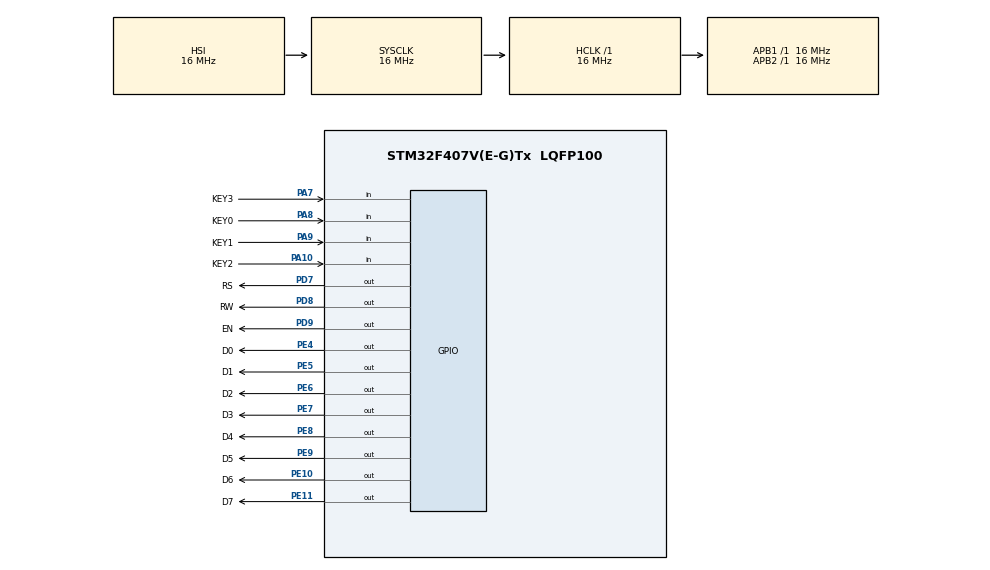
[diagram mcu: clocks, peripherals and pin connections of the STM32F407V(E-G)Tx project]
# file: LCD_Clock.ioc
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Mcu.Family=STM32F4
Mcu.Name=STM32F407V(E-G)Tx
Mcu.Package=LQFP100
NVIC.PriorityGroup=NVIC_PRIORITYGROUP_4
NVIC.TIM1_TRG_COM_TIM11_IRQn=true\:2\:0\:true\:false\:true\:true
NVIC.TIM1_UP_TIM10_IRQn=true\:0\:0\:false\:false\:true\:true
PA10.GPIO_Label=KEY2
PA10.GPIO_PuPd=GPIO_PULLDOWN
PA10.Signal=GPIO_Input
PA7.GPIO_Label=KEY3
PA7.GPIO_PuPd=GPIO_PULLDOWN
PA7.Signal=GPIO_Input
PA8.GPIO_Label=KEY0
PA8.GPIO_PuPd=GPIO_PULLDOWN
PA8.Signal=GPIO_Input
PA9.GPIO_Label=KEY1
PA9.GPIO_PuPd=GPIO_PULLDOWN
PA9.Signal=GPIO_Input
PD7.GPIO_Label=RS
PD7.Signal=GPIO_Output
PD8.GPIO_Label=RW
PD8.Signal=GPIO_Output
PD9.GPIO_Label=EN
PD9.Signal=GPIO_Output
PE10.GPIO_Label=D6
PE10.Signal=GPIO_Output
PE11.GPIO_Label=D7
PE11.Signal=GPIO_Output
PE4.GPIO_Label=D0
PE4.Signal=GPIO_Output
PE5.GPIO_Label=D1
PE5.Signal=GPIO_Output
PE6.GPIO_Label=D2
PE6.Signal=GPIO_Output
PE7.GPIO_Label=D3
PE7.Signal=GPIO_Output
PE8.GPIO_Label=D4
PE8.Signal=GPIO_Output
PE9.GPIO_Label=D5
PE9.Signal=GPIO_Output
PH0-OSC_IN.Mode=HSE-External-Oscillator
PH0-OSC_IN.Signal=RCC_OSC_IN
PH1-OSC_OUT.Mode=HSE-External-Oscillator
PH1-OSC_OUT.Signal=RCC_OSC_OUT
ProjectManager.HeapSize=0x200
ProjectManager.StackSize=0x400
ProjectManager.TargetToolchain=SW4STM32
RCC.48MHZClocksFreq_Value=24000000
RCC.AHBFreq_Value=16000000
RCC.APB1Freq_Value=16000000
RCC.APB1TimFreq_Value=16000000
RCC.APB2Freq_Value=16000000
RCC.APB2TimFreq_Value=16000000
RCC.CortexFreq_Value=16000000
RCC.HCLKFreq_Value=16000000
RCC.HSE_VALUE=8000000
RCC.HSI_VALUE=16000000
RCC.LSE_VALUE=32768
RCC.PLLSourceVirtual=RCC_PLLSOURCE_HSE
RCC.SYSCLKFreq_VALUE=16000000
RCC.VCOOutputFreq_Value=96000000
TIM10.Period=999
TIM10.Prescaler=255
TIM11.Period=62499
TIM11.Prescaler=255
VP_TIM10_VS_ClockSourceINT.Mode=Enable_Timer
VP_TIM11_VS_ClockSourceINT.Mode=Enable_Timer
board=LCD_ostatnua_proba

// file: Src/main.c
/**
  ******************************************************************************
  * @file           : main.c
  * @brief          : Main program body
  ******************************************************************************
  ** This notice applies to any and all portions of this file
  * that are not between comment pairs USER CODE BEGIN and
  * USER CODE END. Other portions of this file, whether
  * inserted by the user or by software development tools
  * are owned by their respective copyright owners.
  *
  * COPYRIGHT(c) 2018 STMicroelectronics
  *
  * Redistribution and use in source and binary forms, with or without modification,
  * are permitted provided that the following conditions are met:
  *   1. Redistributions of source code must retain the above copyright notice,
  *      this list of conditions and the following disclaimer.
  *   2. Redistributions in binary form must reproduce the above copyright notice,
  *      this list of conditions and the following disclaimer in the documentation
  *      and/or other materials provided with the distribution.
  *   3. Neither the name of STMicroelectronics nor the names of its contributors
  *      may be used to endorse or promote products derived from this software
  *      without specific prior written permission.
  *
  * THIS SOFTWARE IS PROVIDED BY THE COPYRIGHT HOLDERS AND CONTRIBUTORS "AS IS"
  * AND ANY EXPRESS OR IMPLIED WARRANTIES, INCLUDING, BUT NOT LIMITED TO, THE
  * IMPLIED WARRANTIES OF MERCHANTABILITY AND FITNESS FOR A PARTICULAR PURPOSE ARE
  * DISCLAIMED. IN NO EVENT SHALL THE COPYRIGHT HOLDER OR CONTRIBUTORS BE LIABLE
  * FOR ANY DIRECT, INDIRECT, INCIDENTAL, SPECIAL, EXEMPLARY, OR CONSEQUENTIAL
  * DAMAGES (INCLUDING, BUT NOT LIMITED TO, PROCUREMENT OF SUBSTITUTE GOODS OR
  * SERVICES; LOSS OF USE, DATA, OR PROFITS; OR BUSINESS INTERRUPTION) HOWEVER
  * CAUSED AND ON ANY THEORY OF LIABILITY, WHETHER IN CONTRACT, STRICT LIABILITY,
  * OR TORT (INCLUDING NEGLIGENCE OR OTHERWISE) ARISING IN ANY WAY OUT OF THE USE
  * OF THIS SOFTWARE, EVEN IF ADVISED OF THE POSSIBILITY OF SUCH DAMAGE.
  *
  ******************************************************************************
  */
#include "main.h"
#include "stm32f4xx_hal.h"

/* USER CODE BEGIN Includes */
#include "LCD.h"
void czas_print_xy_migajacy (unsigned char x, unsigned char y, signed char enter, unsigned char miganie, signed char cyfry[6]);
void window_1(signed char enter, unsigned char miganie, signed char cyfry[6]);
void window_2(signed char enter, unsigned char miganie, signed char cyfry[6]);

/* USER CODE END Includes */

TIM_HandleTypeDef htim10;
TIM_HandleTypeDef htim11;

/* USER CODE BEGIN PV */
/* Private variables ---------------------------------------------------------*/

volatile unsigned char kl_ENTER = 0;	//przycisk ENTER (KEY0)
volatile unsigned char kl_UP = 0;		//przycisk UP (KEY1)
volatile unsigned char kl_DOWN = 0;		//przycisk DOWN (KEY2)
volatile unsigned char kl_CANCEL = 0;	//przycisk CANCELv(KEY3)
volatile int licznik = 0; 	//zmienna regulujaca czestotliwosc zapalania i wylaczania sie modyfikowanej cyfry

union {		//do obs³ugi przycisków -> w przerwaniu
 struct {
  unsigned char ENTER:1;	//LSB
  unsigned char UP:1;
  unsigned char DOWN:1;
  unsigned char CANCEL:1;
  unsigned char ENTER_PREV:1;
  unsigned char UP_PREV:1;
  unsigned char DOWN_PREV:1;
  unsigned char CANCEL_PREV:1; //MSB
 } flags;
  char byte;
} key;

union {		//do obs³ugi przycisków -> w przerwaniu
 struct {
  unsigned char ENTER:1;	   //LSB
  unsigned char UP:1;
  unsigned char DOWN:1;
  unsigned char CANCEL:1;
  unsigned char ENTER_PREV:1;
  unsigned char UP_PREV:1;
  unsigned char DOWN_PREV:1;
  unsigned char CANCEL_PREV:1;
  unsigned char ENTER_PREV1:1;
  unsigned char UP_PREV1:1;
  unsigned char DOWN_PREV1:1;
  unsigned char CANCEL_PREV1:1;
  unsigned char ENTER_PREV2:1;
  unsigned char UP_PREV2:1;
  unsigned char DOWN_PREV2:1;
  unsigned char CANCEL_PREV2:1; //MSB
  } flags;
  int word;
} falling_slope;

signed char cyfry[6] = {0, 0, 0, 0, 0, 0};			//wartoœci tablicy modyfikowane s¹ przyciskami
volatile signed char kopia[6] = {0, 0, 0, 0, 0, 0};   //kopia wartosci, uzyta pozniej w przyadku przycisku CANCEL
volatile signed char enter = 0;						//zmienna przechowujaca aktualna ilosc klikniec przycisku ENTER % 5
volatile unsigned char miganie = 0;					//zmienna bezposrednio wskazujaca na zapalenie lub nie modyfikowanej diody

/* USER CODE END PV */

void SystemClock_Config(void);
static void MX_GPIO_Init(void);
static void MX_TIM10_Init(void);
static void MX_TIM11_Init(void);

/* USER CODE BEGIN PFP */
/* Private function prototypes -----------------------------------------------*/

/* USER CODE END PFP */

int main(void)
{
  /* USER CODE BEGIN 1 */
	key.byte = 0xFF;   //inicjalizacja flag stanami nieaktywnymi
	falling_slope.word = 0x0000; //inicjalizacja flag stanami nieaktywnymi
  /* USER CODE END 1 */

  /* MCU Configuration----------------------------------------------------------*/

  /* Reset of all peripherals, Initializes the Flash interface and the Systick. */
  HAL_Init();

  /* Configure the system clock */
  SystemClock_Config();

  /* Initialize all configured peripherals */
  MX_GPIO_Init();
  MX_TIM10_Init();
  MX_TIM11_Init();
  /* USER CODE BEGIN 2 */
  HAL_TIM_Base_Start_IT(&htim10);
  HAL_TIM_Base_Start_IT(&htim11);
  init_LCD();
  send_LCDinstr(LCD_CLEAR);

  window_1(enter, miganie, cyfry);
  /* USER CODE END 2 */

  /* Infinite loop */
  while (1)
  {

  /* USER CODE BEGIN 3 */

		if(enter < 0)
			enter = 6;
		if(enter > 6)
			enter = 0;
		if(enter == 0)		// zrób kopiê aktualnego stanu cyfr
		{
			kopia[0] = cyfry[0];
			kopia[1] = cyfry[1];
			kopia[2] = cyfry[2];
			kopia[3] = cyfry[3];
			kopia[4] = cyfry[4];
			kopia[5] = cyfry[5];
		};
	switch (enter)
	{
		case 0:
			window_2(enter, miganie, cyfry);
			break;
		case 1:
			if(kl_UP == 1)
			{
				cyfry[0]++;
				if (cyfry[0] > 2) cyfry[0] = 0;
				kl_UP =0;
			};
			if(kl_DOWN == 1)
			{
				cyfry[0]--;
				if (cyfry[0] < 0) cyfry[0] = 2;
				kl_DOWN = 0;
			};
			window_2(enter, miganie, cyfry);
			break;
		case 2:
			if(kl_UP == 1)
			{
				cyfry[1]++;
				if (cyfry[1] > 9)
					cyfry[1] = 0;
				if ((cyfry[0]==2)&&(cyfry[1]>4))
					cyfry[1] = 0;
				kl_UP =0;
			};
			if(kl_DOWN == 1)
			{
				cyfry[1]--;
				if ((cyfry[1] < 0)&&(cyfry[0]!=2))
					cyfry[1] = 9;
				if ((cyfry[0]==2)&&(cyfry[1]<0))
					cyfry[1] = 4;
				kl_DOWN = 0;
			};
			window_2(enter, miganie, cyfry);
			break;
		case 3:
			if(kl_UP == 1)
			{
				cyfry[2]++;
				if (cyfry[2] > 5) cyfry[2] = 0;
				kl_UP =0;
			};
			if(kl_DOWN == 1)
			{
				cyfry[2]--;
				if (cyfry[2] < 0) cyfry[2] = 5;
				kl_DOWN = 0;
			};
			window_2(enter, miganie, cyfry);
			break;
		case 4:
			if(kl_UP == 1)
			{
				cyfry[3]++;
				if (cyfry[3] > 9) cyfry[3] = 0;
				kl_UP =0;
			};
			if(kl_DOWN == 1)
			{
				cyfry[3]--;
				if (cyfry[3] < 0) cyfry[3] = 9;
				kl_DOWN = 0;
			};
			window_2(enter, miganie, cyfry);
			break;
		case 5:
			if(kl_UP == 1)
			{
				cyfry[4]++;
				if (cyfry[4] > 5) cyfry[4] = 0;
				kl_UP =0;
			};
			if(kl_DOWN == 1)
			{
				cyfry[4]--;
				if (cyfry[4] < 0) cyfry[4] = 5;
				kl_DOWN = 0;
			};
			window_2(enter, miganie, cyfry);
			break;
		case 6:
			if(kl_UP == 1)
			{
				cyfry[5]++;
				if (cyfry[5] > 9) cyfry[5] = 0;
				kl_UP = 0;
			};
			if(kl_DOWN == 1)
			{
				cyfry[5]--;
				if (cyfry[5] < 0) cyfry[5] = 9;
				kl_DOWN = 0;
			};
			window_2(enter, miganie, cyfry);
			break;
	};
	if(kl_CANCEL == 1)		//powrot do stanu przed modyfikacja
	{
		enter = 0;
		cyfry[0] = kopia[0];
		cyfry[1] = kopia[1];
		cyfry[2] = kopia[2];
		cyfry[3] = kopia[3];
		cyfry[4] = kopia[4];
		cyfry[5] = kopia[5];
		kl_CANCEL = 0;
	};
  };
  /* USER CODE END 3 */

}

void SystemClock_Config(void)
{

  RCC_OscInitTypeDef RCC_OscInitStruct;
  RCC_ClkInitTypeDef RCC_ClkInitStruct;

    /**Configure the main internal regulator output voltage
    */
  __HAL_RCC_PWR_CLK_ENABLE();

  __HAL_PWR_VOLTAGESCALING_CONFIG(PWR_REGULATOR_VOLTAGE_SCALE1);

    /**Initializes the CPU, AHB and APB busses clocks
    */
  RCC_OscInitStruct.OscillatorType = RCC_OSCILLATORTYPE_HSI;
  RCC_OscInitStruct.HSIState = RCC_HSI_ON;
  RCC_OscInitStruct.HSICalibrationValue = 16;
  RCC_OscInitStruct.PLL.PLLState = RCC_PLL_NONE;
  if (HAL_RCC_OscConfig(&RCC_OscInitStruct) != HAL_OK)
  {
    _Error_Handler(__FILE__, __LINE__);
  }

    /**Initializes the CPU, AHB and APB busses clocks
    */
  RCC_ClkInitStruct.ClockType = RCC_CLOCKTYPE_HCLK|RCC_CLOCKTYPE_SYSCLK
                              |RCC_CLOCKTYPE_PCLK1|RCC_CLOCKTYPE_PCLK2;
  RCC_ClkInitStruct.SYSCLKSource = RCC_SYSCLKSOURCE_HSI;
  RCC_ClkInitStruct.AHBCLKDivider = RCC_SYSCLK_DIV1;
  RCC_ClkInitStruct.APB1CLKDivider = RCC_HCLK_DIV1;
  RCC_ClkInitStruct.APB2CLKDivider = RCC_HCLK_DIV1;

  if (HAL_RCC_ClockConfig(&RCC_ClkInitStruct, FLASH_LATENCY_0) != HAL_OK)
  {
    _Error_Handler(__FILE__, __LINE__);
  }

    /**Configure the Systick interrupt time
    */
  HAL_SYSTICK_Config(HAL_RCC_GetHCLKFreq()/1000);

    /**Configure the Systick
    */
  HAL_SYSTICK_CLKSourceConfig(SYSTICK_CLKSOURCE_HCLK);

  /* SysTick_IRQn interrupt configuration */
  HAL_NVIC_SetPriority(SysTick_IRQn, 0, 0);
}

/* TIM10 init function */
static void MX_TIM10_Init(void)
{

  htim10.Instance = TIM10;
  htim10.Init.Prescaler = 255;
  htim10.Init.CounterMode = TIM_COUNTERMODE_UP;
  htim10.Init.Period = 999;
  htim10.Init.ClockDivision = TIM_CLOCKDIVISION_DIV1;
  if (HAL_TIM_Base_Init(&htim10) != HAL_OK)
  {
    _Error_Handler(__FILE__, __LINE__);
  }

}

/* TIM11 init function */
static void MX_TIM11_Init(void)
{

  htim11.Instance = TIM11;
  htim11.Init.Prescaler = 255;
  htim11.Init.CounterMode = TIM_COUNTERMODE_UP;
  htim11.Init.Period = 62499;
  htim11.Init.ClockDivision = TIM_CLOCKDIVISION_DIV1;
  if (HAL_TIM_Base_Init(&htim11) != HAL_OK)
  {
    _Error_Handler(__FILE__, __LINE__);
  }

}

/** Configure pins as
        * Analog
        * Input
        * Output
        * EVENT_OUT
        * EXTI
*/
static void MX_GPIO_Init(void)
{

  GPIO_InitTypeDef GPIO_InitStruct;

  /* GPIO Ports Clock Enable */
  __HAL_RCC_GPIOE_CLK_ENABLE();
  __HAL_RCC_GPIOH_CLK_ENABLE();
  __HAL_RCC_GPIOA_CLK_ENABLE();
  __HAL_RCC_GPIOD_CLK_ENABLE();

  /*Configure GPIO pin Output Level */
  HAL_GPIO_WritePin(GPIOE, D0_Pin|D1_Pin|D2_Pin|D3_Pin
                          |D4_Pin|D5_Pin|D6_Pin|D7_Pin, GPIO_PIN_RESET);

  /*Configure GPIO pin Output Level */
  HAL_GPIO_WritePin(GPIOD, RW_Pin|EN_Pin|RS_Pin, GPIO_PIN_RESET);

  /*Configure GPIO pins : D0_Pin D1_Pin D2_Pin D3_Pin
                           D4_Pin D5_Pin D6_Pin D7_Pin */
  GPIO_InitStruct.Pin = D0_Pin|D1_Pin|D2_Pin|D3_Pin
                          |D4_Pin|D5_Pin|D6_Pin|D7_Pin;
  GPIO_InitStruct.Mode = GPIO_MODE_OUTPUT_PP;
  GPIO_InitStruct.Pull = GPIO_NOPULL;
  GPIO_InitStruct.Speed = GPIO_SPEED_FREQ_LOW;
  HAL_GPIO_Init(GPIOE, &GPIO_InitStruct);

  /*Configure GPIO pins : KEY3_Pin KEY0_Pin KEY1_Pin KEY2_Pin */
  GPIO_InitStruct.Pin = KEY3_Pin|KEY0_Pin|KEY1_Pin|KEY2_Pin;
  GPIO_InitStruct.Mode = GPIO_MODE_INPUT;
  GPIO_InitStruct.Pull = GPIO_PULLDOWN;
  HAL_GPIO_Init(GPIOA, &GPIO_InitStruct);

  /*Configure GPIO pins : RW_Pin EN_Pin RS_Pin */
  GPIO_InitStruct.Pin = RW_Pin|EN_Pin|RS_Pin;
  GPIO_InitStruct.Mode = GPIO_MODE_OUTPUT_PP;
  GPIO_InitStruct.Pull = GPIO_NOPULL;
  GPIO_InitStruct.Speed = GPIO_SPEED_FREQ_LOW;
  HAL_GPIO_Init(GPIOD, &GPIO_InitStruct);

}

/* USER CODE BEGIN 4 */

void HAL_TIM_PeriodElapsedCallback(TIM_HandleTypeDef *htim)
{
	if(htim->Instance == TIM10)				// Zabezpieczenie przed wp³ywem zak³óceñ na stan wejœc z przycisków
	{
		key.byte=(key.byte << 4);// przesuwaj¹c w lew¹ stronê bity z do³u uzupe³niane s¹ zerami
		//ustawienie jedynek na pozycjach od 0 do 3 w przypadku odczytania zer z odpowiednich wejœæ KEYx
			key.byte |= ((HAL_GPIO_ReadPin(KEY0_GPIO_Port, KEY0_Pin)==GPIO_PIN_SET)|((HAL_GPIO_ReadPin(KEY1_GPIO_Port, KEY1_Pin)==GPIO_PIN_SET) << 1)|((HAL_GPIO_ReadPin(KEY2_GPIO_Port, KEY2_Pin)==GPIO_PIN_SET) << 2)|((HAL_GPIO_ReadPin(KEY3_GPIO_Port, KEY3_Pin)==GPIO_PIN_SET) << 3));
			falling_slope.word = (falling_slope.word << 4);

			if(key.flags.ENTER)			 //czy wciœniêty jest przycisk ENTER?
			{
				if(!key.flags.ENTER_PREV)
					falling_slope.flags.ENTER = 1; //Czy wykryto zbocze opadaj¹ce
				if(falling_slope.flags.ENTER_PREV2)
				{
					kl_ENTER = 1; //Czy od chwili wykrycia zbocza opadaj¹cego up³ynê³y 3 przerwania z wciœniêtym przyciskiem
					enter++;
				}
			}
			else
			{
				falling_slope.word &= 0xEEEE;  //wyzerowanie flag dla przycisku ENTER potwierdzaj¹cych wykrycie zbocza opadaj¹cego
			};

			if(key.flags.UP)
			{  //czy wciœniêty jest przycisk UP?
				if(!key.flags.UP_PREV)
					falling_slope.flags.UP = 1; //Czy wykryto zbocze opadaj¹ce
				if(falling_slope.flags.UP_PREV2)
					kl_UP = 1; //Czy od chwili wykrycia zbocza opadaj¹cego up³ynê³y 3 przerwania z wciœniêtym przyciskiem
			}
			else
			{
				falling_slope.word &= 0xDDDD;  //wyzerowanie flag dla przycisku UP potwierdzaj¹cych wykrycie zbocza opadaj¹cego
			};

			if(key.flags.DOWN)
			{  //czy wciœniêty jest przycisk DOWN?
				if(!key.flags.DOWN_PREV)
					falling_slope.flags.DOWN = 1; //Czy wykryto zbocze opadaj¹ce
				if(falling_slope.flags.DOWN_PREV2)
					kl_DOWN = 1; //Czy od chwili wykrycia zbocza opadaj¹cego up³ynê³y 3 przerwania z wciœniêtym przyciskiem
			}
			else
			{
				falling_slope.word &= 0xBBBB;  //wyzerowanie flag dla przycisku DOWN potwierdzaj¹cych wykrycie zbocza opadaj¹cego
			};

			if(key.flags.CANCEL)
			{  //czy wciœniêty jest przycisk CANCEL?
				if(!key.flags.CANCEL_PREV)
					falling_slope.flags.CANCEL = 1;  //Czy wykryto zbocze opadaj¹ce
				if(falling_slope.flags.CANCEL_PREV2)
					kl_CANCEL = 1;  //Czy od chwili wykrycia zbocza opadaj¹cego up³ynê³y 3 przerwania z wciœniêtym przyciskiem
			}
			else
			{
				falling_slope.word &= 0x7777;  //wyzerowanie flag dla przycisku CANCEL potwierdzaj¹cych wykrycie zbocza opadaj¹cego
			};
			if(licznik == 62)	//czy minê³a sekunda?
			{
				licznik = 0;		//reset licznika
				miganie = !miganie;		//zmiana stanu modyfikowanej diody
			}

			licznik++;
	};

	if(htim->Instance == TIM11)			// zliczanie czasu gdy zadna cyfra nie jest modyfikowana
	{
		if(enter == 0)
			{
					cyfry[5]++;
					if(cyfry[5] > 9)
					{
						cyfry[5] = 0;
						cyfry[4]++;
					}
					if(cyfry[4] > 5)
					{	cyfry[4] = 0;
						cyfry[3]++;
					}
					if(cyfry[3] > 9)
					{
						cyfry[3] = 0;
						cyfry[2]++;
					}
					if(cyfry[2] > 5)
					{
						cyfry[2] = 0;
						cyfry[1]++;
					}
					if(cyfry[1] > 9)
					{
						cyfry[1] = 0;
						cyfry[0]++;
					}
					if((cyfry[0] == 2) && (cyfry[1] > 3))
					{
						cyfry[0] = 0;
						cyfry[1] = 0;
					}
				}
		};
};

void czas_print_xy_migajacy (unsigned char x, unsigned char y, signed char enter, unsigned char miganie, signed char cyfry[6])	// wyœwietlenie wartoœci czasu
{
	switch(enter)			// która liczba jest modyfikowana
	{
		case 0:					// ¿adna cyfra nie jest modyfikowana
		{
		 set_cursor(x, y);	    // ustalenie pocz¹tku tekstu
		 send_LCDdata(cyfry[0] + 48); 	// liczba dziesi¹tek godzin
		 send_LCDdata(cyfry[1] + 48);	// liczba jednoœci godzin
		 send_LCDdata(0x3A);			// kod ASCII ':"
		 send_LCDdata(cyfry[2] + 48);	// liczba dziesi¹tek minut
		 send_LCDdata(cyfry[3] + 48);	// liczba jednoœci minut
		 send_LCDdata(0x3A);		    // kod ASCII ':"
		 send_LCDdata(cyfry[4] + 48);	// liczba dziesi¹tek sekund
		 send_LCDdata(cyfry[5] + 48);	// liczba jednoœci sekund
		 break;
		};
		case 1:					// modyfikowana jest wartoœc dziesi¹tek godzin
		{
		 set_cursor(x, y);	    // ustalenie pocz¹tku tekstu
		 if(miganie == 1)
			send_LCDdata(cyfry[0] + 48);	// liczba dziesi¹tek godzin
		 else
			send_LCDdata(32);			// wys³anie znaku spacji
		 send_LCDdata(cyfry[1] + 48);	// liczba jednoœci godzin
		 send_LCDdata(0x3A);		    // kod ASCII ':"
		 send_LCDdata(cyfry[2] + 48);	// liczba dziesi¹tek minut
		 send_LCDdata(cyfry[3] + 48);	// liczba jednoœci minut
		 send_LCDdata(0x3A);		    // kod ASCII ':"
		 send_LCDdata(cyfry[4] + 48);	// liczba dziesi¹tek sekund
		 send_LCDdata(cyfry[5] + 48);
		 break;
		};
		case 2:					// modyfikowana jest wartoœc jednoœci godzin
		{
		 set_cursor(x, y);
		 send_LCDdata(cyfry[0] + 48);
		 if(miganie == 1)
			send_LCDdata(cyfry[1] + 48);
		 else
			send_LCDdata(32);
		 send_LCDdata(0x3A);
		 send_LCDdata(cyfry[2] + 48);
		 send_LCDdata(cyfry[3] + 48);
		 send_LCDdata(0x3A);
		 send_LCDdata(cyfry[4] + 48);
		 send_LCDdata(cyfry[5] + 48);
		 break;
		};
		case 3:					// modyfikowana jest wartoœc dziesi¹tek minut
		{
		 set_cursor(x, y);
		 send_LCDdata(cyfry[0] + 48);
		 send_LCDdata(cyfry[1] + 48);
		 send_LCDdata(0x3A);
		 if(miganie == 1)
			send_LCDdata(cyfry[2] + 48);
		 else
			send_LCDdata(32);
		 send_LCDdata(cyfry[3] + 48);
		 send_LCDdata(0x3A);
		 send_LCDdata(cyfry[4] + 48);
		 send_LCDdata(cyfry[5] + 48);
		 break;
		};
		case 4:					// modyfikowana jest wartoœc jednoœci minut
		{
		 set_cursor(x, y);
		 send_LCDdata(cyfry[0] + 48);
		 send_LCDdata(cyfry[1] + 48);
		 send_LCDdata(0x3A);
		 send_LCDdata(cyfry[2] + 48);
		 if(miganie==1)
			send_LCDdata(cyfry[3] + 48);
		 else
			send_LCDdata(32);
		 send_LCDdata(0x3A);
		 send_LCDdata(cyfry[4] + 48);
		 send_LCDdata(cyfry[5] + 48);
		 break;
		};
		case 5:					// modyfikowana jest wartoœc dziesi¹tek sekund
		{
		 set_cursor(x, y);
		 send_LCDdata(cyfry[0] + 48);
		 send_LCDdata(cyfry[1] + 48);
		 send_LCDdata(0x3A);
		 send_LCDdata(cyfry[2] + 48);
		 send_LCDdata(cyfry[3] + 48);
		 send_LCDdata(0x3A);
		 if(miganie == 1)
			send_LCDdata(cyfry[4] + 48);
		 else
			send_LCDdata(32);
		 send_LCDdata(cyfry[5] + 48);
		 break;
		};
		case 6:					// modyfikowana jest wartoœc jednoœci sekund
		{
		 set_cursor(x, y);
		 send_LCDdata(cyfry[0] + 48);
		 send_LCDdata(cyfry[1] + 48);
		 send_LCDdata(0x3A);
		 send_LCDdata(cyfry[2] + 48);
		 send_LCDdata(cyfry[3] + 48);
		 send_LCDdata(0x3A);
		 send_LCDdata(cyfry[4] + 48);
		 if(miganie == 1)
			send_LCDdata(cyfry[5] + 48);
		 else
			send_LCDdata(32);
		 break;
		};
	};
};

void window_1(signed char enter, unsigned char miganie, signed char cyfry[6])
{
	send_LCDinstr(LCD_CLEAR); //czysc wyswietlacz LCD
	write_string_xy(1, 1, "OBECNY CZAS");
	write_string_xy(3, 1, "WYNOSI:");
};

void window_2(signed char enter, unsigned char miganie, signed char cyfry[6])
{
	czas_print_xy_migajacy(3, 9, enter, miganie, cyfry);
};
/* USER CODE END 4 */

void _Error_Handler(char *file, int line)
{
  while(1)
  {
  }
}

/************************ (C) COPYRIGHT STMicroelectronics *****END OF FILE****/
